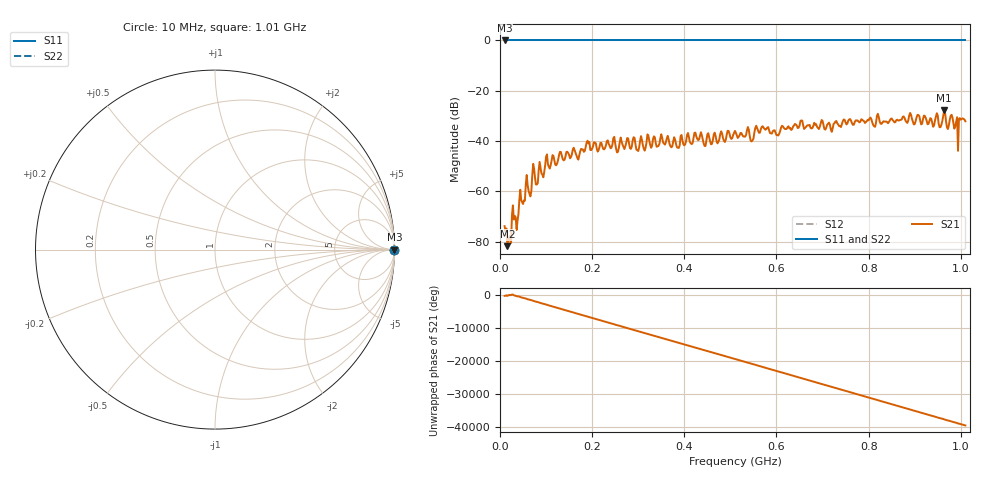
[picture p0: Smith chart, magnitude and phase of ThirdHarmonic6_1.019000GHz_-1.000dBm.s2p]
! 8/16/2025 8:31:25 AM
! C:\ANRITSUVNA\TEMP\TEMP.S2P
! CHANNEL.1
! TR.MEASUREMENT
! RAW.DATA
! RF.CORRECTION.OFF
! AVERAGING.OFF
! IF.BANDWIDTH: 5KHZ
! SWEEPTYPE:  FREQ.SWEEP(Linear)
! Reference Plane Port Info
! PORT:  PORT1  PORT2
! DISTANCE:  0  m  0  m
! TIME:  0  s  0  s
! PHASE.OFFSET:  0  deg.  0  deg.
! LOSS:  0  dB  0  dB
! REF.LOSS:  0  dB  0  dB
! REF.FREQ:  0  Hz  0  Hz
! Power Info
! POWER:  -20  dBm  -20  dBm
! EFF.POWER:  -20  dBm  -20  dBm
! SOURCE.ATTEN:  0  dB  0  dB
! TEST.ATTEN:  0  dB  0  dB
# GHZ S RI R 50.0
! FREQ.GHZ  S11RE  S11IM  S21RE  S21IM  S12RE  S12IM  S22RE  S22IM
!; PortSelection: Port_12
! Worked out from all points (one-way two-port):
!   501 points, 10 MHz to 1.01 GHz, reference 50 ohm
!   highest |S21| = -27.78 dB at 964 MHz (marker M1); lowest = -81.8 dB at 16 MHz (marker M2)
!   lowest |S11| = 0.0 dB at 10 MHz (marker M3)
!   |S11| at or under -10 dB: nowhere
!   |S22| runs from 0.0 to 0.0 dB; largest |S21 - S12| = 1
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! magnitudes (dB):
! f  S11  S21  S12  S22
! 10 MHz  0.0  -73.8  0.0  0.0
! 16 MHz  0.0  -81.8  0.0  0.0
! 20 MHz  0.0  -78.3  0.0  0.0
! 30 MHz  0.0  -71.2  0.0  0.0
! 36 MHz  0.0  -75.4  0.0  0.0
! 44 MHz  0.0  -59.4  0.0  0.0
! 60 MHz  0.0  -57.5  0.0  0.0
! 64 MHz  0.0  -61.0  0.0  0.0
! 74 MHz  0.0  -50.9  0.0  0.0
! 80 MHz  0.0  -57.3  0.0  0.0
! 102 MHz  0.0  -45.3  0.0  0.0
! 178 MHz  0.0  -43.3  0.0  0.0
! 344 MHz  0.0  -41.9  0.0  0.0
! 510 MHz  0.0  -36.0  0.0  0.0
! 546 MHz  0.0  -40.1  0.0  0.0
! 556 MHz  0.0  -33.9  0.0  0.0
! 678 MHz  0.0  -34.8  0.0  0.0
! 844 MHz  0.0  -32.4  0.0  0.0
! 956 MHz  0.0  -34.4  0.0  0.0
! 964 MHz  0.0  -27.8  0.0  0.0
! 990 MHz  0.0  -32.2  0.0  0.0
! 1.01 GHz  0.0  -32.1  0.0  0.0
